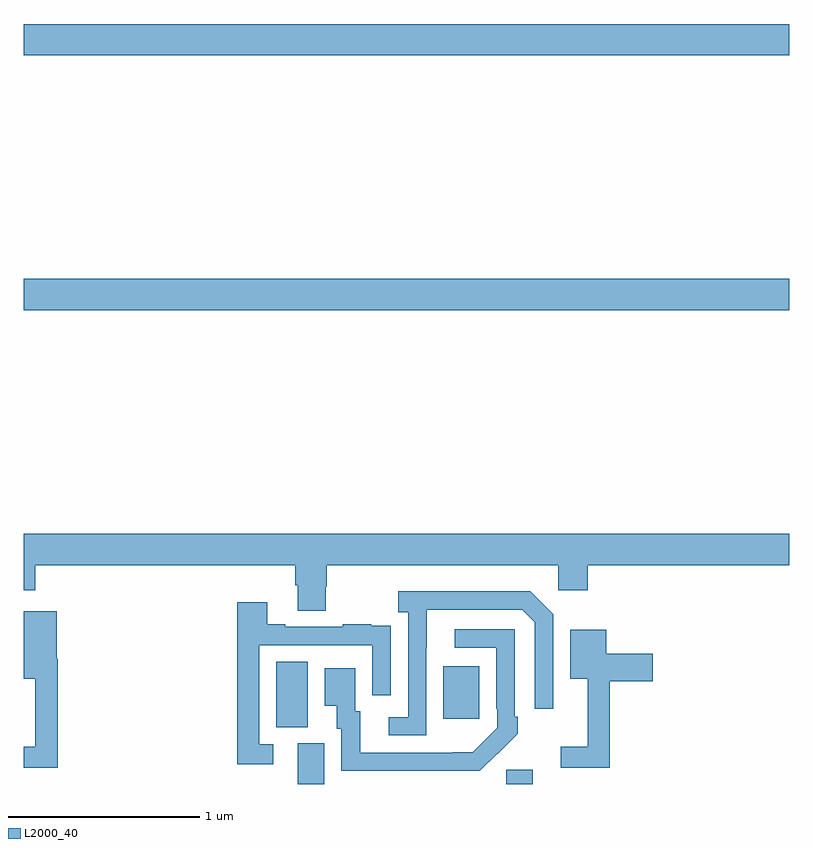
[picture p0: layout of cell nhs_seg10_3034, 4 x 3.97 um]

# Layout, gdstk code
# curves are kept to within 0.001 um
import gdstk
lib = gdstk.Library(unit=1e-6, precision=1e-09)
def R(c, l, rs):  # rectangles x0, y0, x1, y1
    for r in rs: c.add(gdstk.rectangle(r[:2], r[2:], *l))
def P(c, l, *ps):  # polygons
    for p in ps: c.add(gdstk.Polygon(p, *l))
L2000_40 = (2000, 40)

nhs_seg10_3034 = lib.new_cell('nhs_seg10_3034')
R(nhs_seg10_3034, L2000_40, [(276.431,1304.5,276.571,1304.712), (277.521,1304.5,277.66,1304.574), (276.32,1304.797,276.484,1305.14), (277.193,1304.841,277.381,1305.115), (275,1306.976,279,1307.14), (275,1308.308,279,1308.472)])
P(nhs_seg10_3034, L2000_40, [(276.579,1305.531),(276.584,1305.531),(276.584,1305.644),(277.794,1305.644),(277.794,1305.513),(277.946,1305.513),(277.946,1305.644),(279,1305.644),(279,1305.808),(275,1305.808),(275,1305.513),(275.06,1305.513),(275.06,1305.644),(276.419,1305.644),(276.419,1305.538),(276.431,1305.538),(276.431,1305.406),(276.579,1305.406)],
  [(277.104,1305.211),(277.105,1305.411),(277.605,1305.411),(277.671,1305.345),(277.671,1304.892),(277.767,1304.892),(277.767,1305.387),(277.646,1305.508),(276.957,1305.508),(276.957,1305.398),(277.008,1305.398),(277.008,1304.85),(276.906,1304.85),(276.906,1304.754),(277.104,1304.754)],
  [(276.304,1304.709),(276.231,1304.709),(276.231,1305.225),(276.822,1305.225),(276.822,1304.964),(276.918,1304.964),(276.918,1305.218),(276.917,1305.218),(276.917,1305.327),(276.815,1305.327),(276.815,1305.334),(276.667,1305.334),(276.667,1305.321),(276.367,1305.321),(276.367,1305.334),(276.271,1305.334),(276.271,1305.451),(276.115,1305.451),(276.115,1304.604),(276.304,1304.604)],
  [(275.177,1305.154),(275.171,1305.154),(275.171,1305.403),(275,1305.403),(275,1305.05),(275.06,1305.05),(275.06,1304.695),(275,1304.695),(275,1304.586),(275.177,1304.586)],
  [(277.475,1304.659),(277.476,1304.658),(277.581,1304.763),(277.581,1304.851),(277.566,1304.851),(277.566,1305.309),(277.251,1305.309),(277.251,1305.213),(277.47,1305.213),(277.47,1304.893),(277.473,1304.893),(277.473,1304.793),(277.345,1304.665),(276.757,1304.664),(276.757,1304.88),(276.733,1304.88),(276.733,1305.106),(276.572,1305.106),(276.572,1304.909),(276.635,1304.909),(276.635,1304.79),(276.66,1304.79),(276.66,1304.568),(277.384,1304.568)],
  [(278.063,1305.038),(278.287,1305.038),(278.287,1305.18),(278.044,1305.18),(278.044,1305.307),(277.856,1305.307),(277.856,1305.05),(277.946,1305.05),(277.946,1304.695),(277.806,1304.695),(277.806,1304.586),(278.063,1304.586)])

lib.write_gds('nhs_seg10_3034.gds')
